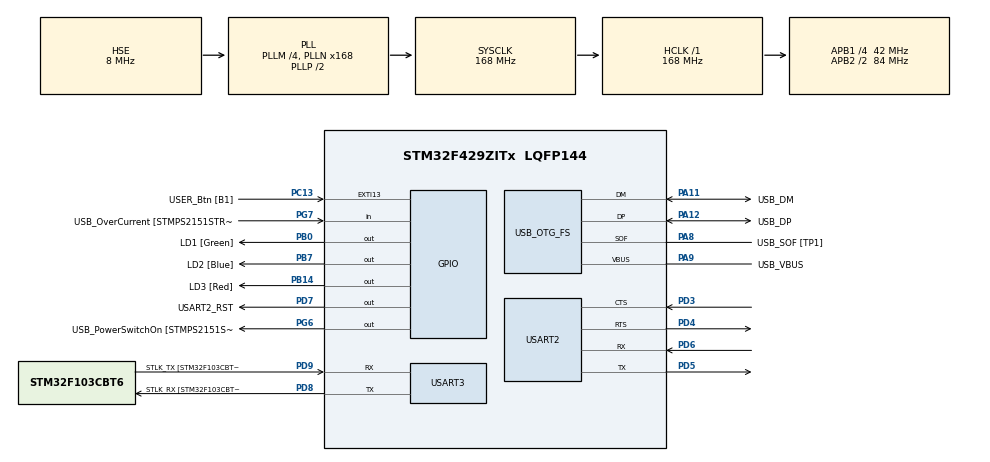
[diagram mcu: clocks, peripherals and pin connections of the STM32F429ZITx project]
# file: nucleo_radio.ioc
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Dma.Request0=USART2_RX
Dma.Request1=USART2_TX
Dma.USART2_RX.0.Direction=DMA_PERIPH_TO_MEMORY
Dma.USART2_RX.0.FIFOMode=DMA_FIFOMODE_DISABLE
Dma.USART2_RX.0.Instance=DMA1_Stream5
Dma.USART2_RX.0.MemDataAlignment=DMA_MDATAALIGN_BYTE
Dma.USART2_RX.0.MemInc=DMA_MINC_ENABLE
Dma.USART2_RX.0.Mode=DMA_NORMAL
Dma.USART2_RX.0.PeriphDataAlignment=DMA_PDATAALIGN_BYTE
Dma.USART2_RX.0.PeriphInc=DMA_PINC_DISABLE
Dma.USART2_RX.0.Priority=DMA_PRIORITY_LOW
Dma.USART2_TX.1.Direction=DMA_MEMORY_TO_PERIPH
Dma.USART2_TX.1.FIFOMode=DMA_FIFOMODE_DISABLE
Dma.USART2_TX.1.Instance=DMA1_Stream6
Dma.USART2_TX.1.MemDataAlignment=DMA_MDATAALIGN_BYTE
Dma.USART2_TX.1.MemInc=DMA_MINC_ENABLE
Dma.USART2_TX.1.Mode=DMA_NORMAL
Dma.USART2_TX.1.PeriphDataAlignment=DMA_PDATAALIGN_BYTE
Dma.USART2_TX.1.PeriphInc=DMA_PINC_DISABLE
Dma.USART2_TX.1.Priority=DMA_PRIORITY_LOW
Mcu.Family=STM32F4
Mcu.Name=STM32F429ZITx
Mcu.Package=LQFP144
NVIC.DMA1_Stream5_IRQn=true\:0\:0\:false\:true\:true\:1\:false\:true
NVIC.DMA1_Stream6_IRQn=true\:0\:0\:false\:true\:true\:2\:false\:true
NVIC.OTG_FS_IRQn=true\:0\:0\:false\:true\:true\:4\:false\:true
NVIC.PriorityGroup=NVIC_PRIORITYGROUP_4
NVIC.USART2_IRQn=true\:0\:0\:false\:true\:true\:3\:true\:true
PA1.GPIO_Label=RMII_REF_CLK [LAN8742A-CZ-TR_REFCLK0]
PA1.Signal=ETH_REF_CLK
PA10.GPIO_Label=USB_ID
PA10.Signal=USB_OTG_FS_ID
PA11.GPIO_Label=USB_DM
PA11.Mode=Device_Only
PA11.Signal=USB_OTG_FS_DM
PA12.GPIO_Label=USB_DP
PA12.Mode=Device_Only
PA12.Signal=USB_OTG_FS_DP
PA13.GPIO_Label=TMS
PA13.Mode=Serial_Wire
PA13.Signal=SYS_JTMS-SWDIO
PA14.GPIO_Label=TCK
PA14.Mode=Serial_Wire
PA14.Signal=SYS_JTCK-SWCLK
PA2.GPIO_Label=RMII_MDIO [LAN8742A-CZ-TR_MDIO]
PA2.Signal=ETH_MDIO
PA7.GPIO_Label=RMII_CRS_DV [LAN8742A-CZ-TR_CRS_DV]
PA7.Signal=ETH_CRS_DV
PA8.GPIO_Label=USB_SOF [TP1]
PA8.Mode=Activate_SOF_FS
PA8.Signal=USB_OTG_FS_SOF
PA9.GPIO_Label=USB_VBUS
PA9.Mode=Activate_VBUS
PA9.Signal=USB_OTG_FS_VBUS
PB0.GPIO_Label=LD1 [Green]
PB0.Signal=GPIO_Output
PB13.GPIO_Label=RMII_TXD1 [LAN8742A-CZ-TR_TXD1]
PB13.Signal=ETH_TXD1
PB14.GPIO_Label=LD3 [Red]
PB14.Signal=GPIO_Output
PB7.GPIO_Label=LD2 [Blue]
PB7.Signal=GPIO_Output
PC1.GPIO_Label=RMII_MDC [LAN8742A-CZ-TR_MDC]
PC1.Signal=ETH_MDC
PC13.GPIO_Label=USER_Btn [B1]
PC13.Signal=GPXTI13
PC14/OSC32_IN.Mode=LSE-External-Oscillator
PC14/OSC32_IN.Signal=RCC_OSC32_IN
PC15/OSC32_OUT.Mode=LSE-External-Oscillator
PC15/OSC32_OUT.Signal=RCC_OSC32_OUT
PC4.GPIO_Label=RMII_RXD0 [LAN8742A-CZ-TR_RXD0]
PC4.Signal=ETH_RXD0
PC5.GPIO_Label=RMII_RXD1 [LAN8742A-CZ-TR_RXD1]
PC5.Signal=ETH_RXD1
PD3.Mode=CTS_RTS
PD3.Signal=USART2_CTS
PD4.Mode=CTS_RTS
PD4.Signal=USART2_RTS
PD5.Mode=Asynchronous
PD5.Signal=USART2_TX
PD6.Mode=Asynchronous
PD6.Signal=USART2_RX
PD7.GPIO_Label=USART2_RST
PD7.GPIO_ModeDefaultOutputPP=GPIO_MODE_OUTPUT_OD
PD7.Signal=GPIO_Output
PD8.GPIO_Label=STLK_RX [STM32F103CBT6_PA3]
PD8.Mode=Asynchronous
PD8.Signal=USART3_TX
PD9.GPIO_Label=STLK_TX [STM32F103CBT6_PA2]
PD9.Mode=Asynchronous
PD9.Signal=USART3_RX
PG11.GPIO_Label=RMII_TX_EN [LAN8742A-CZ-TR_TXEN]
PG11.Signal=ETH_TX_EN
PG13.GPIO_Label=RMII_TXD0 [LAN8742A-CZ-TR_TXD0]
PG13.Signal=ETH_TXD0
PG6.GPIO_Label=USB_PowerSwitchOn [STMPS2151STR_EN]
PG6.Signal=GPIO_Output
PG7.GPIO_Label=USB_OverCurrent [STMPS2151STR_FAULT]
PG7.Signal=GPIO_Input
PH0/OSC_IN.GPIO_Label=MCO [STM32F103CBT6_PA8]
PH0/OSC_IN.Mode=HSE-External-Clock-Source
PH0/OSC_IN.Signal=RCC_OSC_IN
PH1/OSC_OUT.Mode=HSE-External-Clock-Source
PH1/OSC_OUT.Signal=RCC_OSC_OUT
ProjectManager.HeapSize=0x200
ProjectManager.StackSize=0x400
ProjectManager.TargetToolchain=STM32CubeIDE
RCC.48MHZClocksFreq_Value=48000000
RCC.AHBFreq_Value=168000000
RCC.APB1CLKDivider=RCC_HCLK_DIV4
RCC.APB1Freq_Value=42000000
RCC.APB1TimFreq_Value=84000000
RCC.APB2CLKDivider=RCC_HCLK_DIV2
RCC.APB2Freq_Value=84000000
RCC.APB2TimCLKDivider=2
RCC.APB2TimFreq_Value=168000000
RCC.CortexFreq_Value=168000000
RCC.HCLKFreq_Value=168000000
RCC.HSE_VALUE=8000000
RCC.HSI_VALUE=16000000
RCC.PLLM=4
RCC.PLLMUL=RCC_PLL_MUL9
RCC.PLLN=168
RCC.PLLQ=7
RCC.PRESCALERUSB=RCC_USBCLKSOURCE_PLL_DIV1_5
RCC.SYSCLKFreq_VALUE=168000000
RCC.SYSCLKSource=RCC_SYSCLKSOURCE_PLLCLK
RCC.SYSCLKSourceVirtual=RCC_SYSCLKSOURCE_PLLCLK
RCC.USBFreq_Value=48000000
RCC.VCOOutputFreq_Value=336000000
USART2.VirtualMode=VM_ASYNC
USART3.VirtualMode=VM_ASYNC
USB_DEVICE.CLASS_NAME_FS=CDC
USB_DEVICE.VirtualMode-CDC_FS=Cdc
USB_DEVICE.VirtualModeFS=Cdc_FS
USB_OTG_FS.VirtualMode=Device_Only
VP_USB_DEVICE_VS_USB_DEVICE_CDC_FS.Mode=CDC_FS
board=NUCLEO-F429ZI

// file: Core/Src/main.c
/* USER CODE BEGIN Header */
/**
  ******************************************************************************
  * @file           : main.c
  * @brief          : Main program body
  ******************************************************************************
  * @attention
  *
  * <h2><center>&copy; Copyright (c) 2022 STMicroelectronics.
  * All rights reserved.</center></h2>
  *
  * This software component is licensed by ST under Ultimate Liberty license
  * SLA0044, the "License"; You may not use this file except in compliance with
  * the License. You may obtain a copy of the License at:
  *                             www.st.com/SLA0044
  *
  ******************************************************************************
  */
/* USER CODE END Header */
#include <ateam_ext.h>
#include "main.h"
#include "usb_device.h"

UART_HandleTypeDef huart2;
UART_HandleTypeDef huart3;
DMA_HandleTypeDef hdma_usart2_rx;
DMA_HandleTypeDef hdma_usart2_tx;

void SystemClock_Config(void);
static void MX_GPIO_Init(void);
static void MX_DMA_Init(void);
static void MX_USART2_UART_Init(void);
static void MX_USART3_UART_Init(void);
static void MX_NVIC_Init(void);

int main(void)
{

  /* MCU Configuration--------------------------------------------------------*/

  /* Reset of all peripherals, Initializes the Flash interface and the Systick. */
  HAL_Init();

  /* Configure the system clock */
  SystemClock_Config();

  /* Initialize all configured peripherals */
  MX_GPIO_Init();
  MX_DMA_Init();
  MX_USART2_UART_Init();
  MX_USART3_UART_Init();
  MX_USB_DEVICE_Init();

  /* Initialize interrupts */
  MX_NVIC_Init();

  /* USER CODE BEGIN 2 */
  robot_entry(&huart2, &huart3);
  /* USER CODE END 2 */

  /* Infinite loop */
  while (1)
  {

  }
}

void SystemClock_Config(void)
{
  RCC_OscInitTypeDef RCC_OscInitStruct = {0};
  RCC_ClkInitTypeDef RCC_ClkInitStruct = {0};

  /** Configure the main internal regulator output voltage
  */
  __HAL_RCC_PWR_CLK_ENABLE();
  __HAL_PWR_VOLTAGESCALING_CONFIG(PWR_REGULATOR_VOLTAGE_SCALE1);
  /** Initializes the RCC Oscillators according to the specified parameters
  * in the RCC_OscInitTypeDef structure.
  */
  RCC_OscInitStruct.OscillatorType = RCC_OSCILLATORTYPE_HSE;
  RCC_OscInitStruct.HSEState = RCC_HSE_BYPASS;
  RCC_OscInitStruct.PLL.PLLState = RCC_PLL_ON;
  RCC_OscInitStruct.PLL.PLLSource = RCC_PLLSOURCE_HSE;
  RCC_OscInitStruct.PLL.PLLM = 4;
  RCC_OscInitStruct.PLL.PLLN = 168;
  RCC_OscInitStruct.PLL.PLLP = RCC_PLLP_DIV2;
  RCC_OscInitStruct.PLL.PLLQ = 7;
  if (HAL_RCC_OscConfig(&RCC_OscInitStruct) != HAL_OK)
  {
    Error_Handler();
  }
  /** Initializes the CPU, AHB and APB buses clocks
  */
  RCC_ClkInitStruct.ClockType = RCC_CLOCKTYPE_HCLK|RCC_CLOCKTYPE_SYSCLK
                              |RCC_CLOCKTYPE_PCLK1|RCC_CLOCKTYPE_PCLK2;
  RCC_ClkInitStruct.SYSCLKSource = RCC_SYSCLKSOURCE_PLLCLK;
  RCC_ClkInitStruct.AHBCLKDivider = RCC_SYSCLK_DIV1;
  RCC_ClkInitStruct.APB1CLKDivider = RCC_HCLK_DIV4;
  RCC_ClkInitStruct.APB2CLKDivider = RCC_HCLK_DIV2;

  if (HAL_RCC_ClockConfig(&RCC_ClkInitStruct, FLASH_LATENCY_5) != HAL_OK)
  {
    Error_Handler();
  }
}

/**
  * @brief NVIC Configuration.
  * @retval None
  */
static void MX_NVIC_Init(void)
{
  /* DMA1_Stream5_IRQn interrupt configuration */
  HAL_NVIC_SetPriority(DMA1_Stream5_IRQn, 0, 0);
  HAL_NVIC_EnableIRQ(DMA1_Stream5_IRQn);
  /* DMA1_Stream6_IRQn interrupt configuration */
  HAL_NVIC_SetPriority(DMA1_Stream6_IRQn, 0, 0);
  HAL_NVIC_EnableIRQ(DMA1_Stream6_IRQn);
  /* USART2_IRQn interrupt configuration */
  HAL_NVIC_SetPriority(USART2_IRQn, 0, 0);
  HAL_NVIC_EnableIRQ(USART2_IRQn);
  /* OTG_FS_IRQn interrupt configuration */
  HAL_NVIC_SetPriority(OTG_FS_IRQn, 0, 0);
  HAL_NVIC_EnableIRQ(OTG_FS_IRQn);
}

static void MX_USART2_UART_Init(void)
{

  huart2.Instance = USART2;
  huart2.Init.BaudRate = 115200;
  huart2.Init.WordLength = UART_WORDLENGTH_8B;
  huart2.Init.StopBits = UART_STOPBITS_1;
  huart2.Init.Parity = UART_PARITY_NONE;
  huart2.Init.Mode = UART_MODE_TX_RX;
  huart2.Init.HwFlowCtl = UART_HWCONTROL_RTS_CTS;
  huart2.Init.OverSampling = UART_OVERSAMPLING_16;
  if (HAL_UART_Init(&huart2) != HAL_OK)
  {
    Error_Handler();
  }

}

static void MX_USART3_UART_Init(void)
{

  huart3.Instance = USART3;
  huart3.Init.BaudRate = 115200;
  huart3.Init.WordLength = UART_WORDLENGTH_8B;
  huart3.Init.StopBits = UART_STOPBITS_1;
  huart3.Init.Parity = UART_PARITY_NONE;
  huart3.Init.Mode = UART_MODE_TX_RX;
  huart3.Init.HwFlowCtl = UART_HWCONTROL_NONE;
  huart3.Init.OverSampling = UART_OVERSAMPLING_16;
  if (HAL_UART_Init(&huart3) != HAL_OK)
  {
    Error_Handler();
  }

}

static void MX_DMA_Init(void)
{

  /* DMA controller clock enable */
  __HAL_RCC_DMA1_CLK_ENABLE();

}

static void MX_GPIO_Init(void)
{
  GPIO_InitTypeDef GPIO_InitStruct = {0};

  /* GPIO Ports Clock Enable */
  __HAL_RCC_GPIOC_CLK_ENABLE();
  __HAL_RCC_GPIOH_CLK_ENABLE();
  __HAL_RCC_GPIOA_CLK_ENABLE();
  __HAL_RCC_GPIOB_CLK_ENABLE();
  __HAL_RCC_GPIOD_CLK_ENABLE();
  __HAL_RCC_GPIOG_CLK_ENABLE();

  /*Configure GPIO pin Output Level */
  HAL_GPIO_WritePin(GPIOB, LD1_Pin|LD3_Pin|LD2_Pin, GPIO_PIN_RESET);

  /*Configure GPIO pin Output Level */
  HAL_GPIO_WritePin(USB_PowerSwitchOn_GPIO_Port, USB_PowerSwitchOn_Pin, GPIO_PIN_RESET);

  /*Configure GPIO pin Output Level */
  HAL_GPIO_WritePin(USART2_RST_GPIO_Port, USART2_RST_Pin, GPIO_PIN_RESET);

  /*Configure GPIO pin : USER_Btn_Pin */
  GPIO_InitStruct.Pin = USER_Btn_Pin;
  GPIO_InitStruct.Mode = GPIO_MODE_IT_RISING;
  GPIO_InitStruct.Pull = GPIO_NOPULL;
  HAL_GPIO_Init(USER_Btn_GPIO_Port, &GPIO_InitStruct);

  /*Configure GPIO pins : RMII_MDC_Pin RMII_RXD0_Pin RMII_RXD1_Pin */
  GPIO_InitStruct.Pin = RMII_MDC_Pin|RMII_RXD0_Pin|RMII_RXD1_Pin;
  GPIO_InitStruct.Mode = GPIO_MODE_AF_PP;
  GPIO_InitStruct.Pull = GPIO_NOPULL;
  GPIO_InitStruct.Speed = GPIO_SPEED_FREQ_VERY_HIGH;
  GPIO_InitStruct.Alternate = GPIO_AF11_ETH;
  HAL_GPIO_Init(GPIOC, &GPIO_InitStruct);

  /*Configure GPIO pins : RMII_REF_CLK_Pin RMII_MDIO_Pin RMII_CRS_DV_Pin */
  GPIO_InitStruct.Pin = RMII_REF_CLK_Pin|RMII_MDIO_Pin|RMII_CRS_DV_Pin;
  GPIO_InitStruct.Mode = GPIO_MODE_AF_PP;
  GPIO_InitStruct.Pull = GPIO_NOPULL;
  GPIO_InitStruct.Speed = GPIO_SPEED_FREQ_VERY_HIGH;
  GPIO_InitStruct.Alternate = GPIO_AF11_ETH;
  HAL_GPIO_Init(GPIOA, &GPIO_InitStruct);

  /*Configure GPIO pins : LD1_Pin LD3_Pin LD2_Pin */
  GPIO_InitStruct.Pin = LD1_Pin|LD3_Pin|LD2_Pin;
  GPIO_InitStruct.Mode = GPIO_MODE_OUTPUT_PP;
  GPIO_InitStruct.Pull = GPIO_NOPULL;
  GPIO_InitStruct.Speed = GPIO_SPEED_FREQ_LOW;
  HAL_GPIO_Init(GPIOB, &GPIO_InitStruct);

  /*Configure GPIO pin : RMII_TXD1_Pin */
  GPIO_InitStruct.Pin = RMII_TXD1_Pin;
  GPIO_InitStruct.Mode = GPIO_MODE_AF_PP;
  GPIO_InitStruct.Pull = GPIO_NOPULL;
  GPIO_InitStruct.Speed = GPIO_SPEED_FREQ_VERY_HIGH;
  GPIO_InitStruct.Alternate = GPIO_AF11_ETH;
  HAL_GPIO_Init(RMII_TXD1_GPIO_Port, &GPIO_InitStruct);

  /*Configure GPIO pin : USB_PowerSwitchOn_Pin */
  GPIO_InitStruct.Pin = USB_PowerSwitchOn_Pin;
  GPIO_InitStruct.Mode = GPIO_MODE_OUTPUT_PP;
  GPIO_InitStruct.Pull = GPIO_NOPULL;
  GPIO_InitStruct.Speed = GPIO_SPEED_FREQ_LOW;
  HAL_GPIO_Init(USB_PowerSwitchOn_GPIO_Port, &GPIO_InitStruct);

  /*Configure GPIO pin : USB_OverCurrent_Pin */
  GPIO_InitStruct.Pin = USB_OverCurrent_Pin;
  GPIO_InitStruct.Mode = GPIO_MODE_INPUT;
  GPIO_InitStruct.Pull = GPIO_NOPULL;
  HAL_GPIO_Init(USB_OverCurrent_GPIO_Port, &GPIO_InitStruct);

  /*Configure GPIO pin : USART2_RST_Pin */
  GPIO_InitStruct.Pin = USART2_RST_Pin;
  GPIO_InitStruct.Mode = GPIO_MODE_OUTPUT_OD;
  GPIO_InitStruct.Pull = GPIO_NOPULL;
  GPIO_InitStruct.Speed = GPIO_SPEED_FREQ_LOW;
  HAL_GPIO_Init(USART2_RST_GPIO_Port, &GPIO_InitStruct);

  /*Configure GPIO pins : RMII_TX_EN_Pin RMII_TXD0_Pin */
  GPIO_InitStruct.Pin = RMII_TX_EN_Pin|RMII_TXD0_Pin;
  GPIO_InitStruct.Mode = GPIO_MODE_AF_PP;
  GPIO_InitStruct.Pull = GPIO_NOPULL;
  GPIO_InitStruct.Speed = GPIO_SPEED_FREQ_VERY_HIGH;
  GPIO_InitStruct.Alternate = GPIO_AF11_ETH;
  HAL_GPIO_Init(GPIOG, &GPIO_InitStruct);

}

/* USER CODE BEGIN 4 */

int __io_putchar(int ch) {
	uint8_t c[1];
	c[0] = ch & 0x00FF;
	HAL_UART_Transmit(&huart3, &*c, 1, 10);

	return ch;
}

int _write(int file,char *ptr, int len) {
	int DataIdx;
	for(DataIdx= 0; DataIdx< len; DataIdx++) {
		__io_putchar(*ptr++);
	}

	return len;
}

void HAL_UART_TxCpltCallback(UART_HandleTypeDef *huart) {
	dma_transfer_complete_interrupt(huart);
}

void HAL_UART_ErrorCallback(UART_HandleTypeDef *huart) {
	dma_transfer_error_interrupt(huart);
}

/* USER CODE END 4 */

void Error_Handler(void)
{
  __disable_irq();
  while (1)
  {
  }
}

/************************ (C) COPYRIGHT STMicroelectronics *****END OF FILE****/
